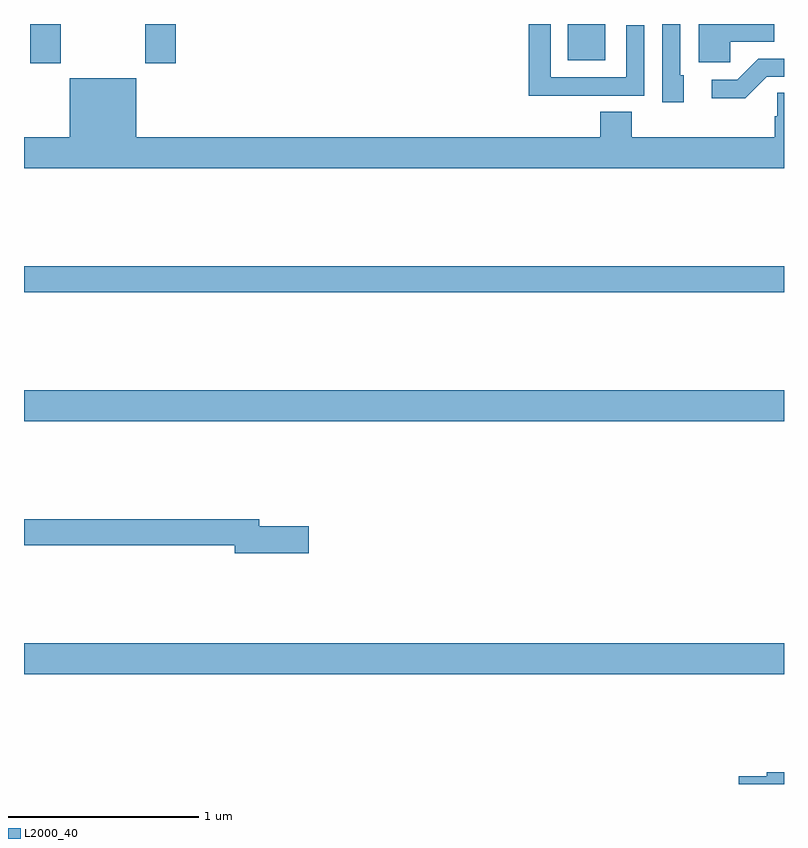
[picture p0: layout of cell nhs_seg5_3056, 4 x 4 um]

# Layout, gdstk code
import gdstk
lib = gdstk.Library(unit=1e-6, precision=1e-09)
def R(c, l, rs):  # rectangles x0, y0, x1, y1
    for r in rs: c.add(gdstk.rectangle(r[:2], r[2:], *l))
def P(c, l, *ps):  # polygons
    for p in ps: c.add(gdstk.Polygon(p, *l))
L2000_40 = (2000, 40)

nhs_seg5_3056 = lib.new_cell('nhs_seg5_3056')
R(nhs_seg5_3056, L2000_40, [(287,907.376,291,907.54), (287,908.708,291,908.872), (287,909.388,291,909.524), (287.033,910.593,287.193,910.799), (287.638,910.593,287.798,910.799), (289.862,910.607,290.059,910.799)])
P(nhs_seg5_3056, L2000_40, [(290.473,910.53),(290.454,910.53),(290.454,910.799),(290.358,910.799),(290.358,910.386),(290.473,910.386)],
  [(290.718,910.706),(290.948,910.706),(290.948,910.799),(290.552,910.799),(290.552,910.598),(290.718,910.598)],
  [(289.949,910.422),(290.265,910.422),(290.265,910.792),(290.169,910.792),(290.169,910.518),(289.773,910.518),(289.773,910.799),(289.657,910.799),(289.657,910.421),(289.949,910.421)],
  [(290.91,910.521),(291,910.521),(291,910.617),(290.864,910.617),(290.753,910.506),(290.619,910.506),(290.619,910.409),(290.797,910.409)],
  [(291,910.436),(290.964,910.436),(290.964,910.313),(290.951,910.313),(290.951,910.204),(290.198,910.204),(290.198,910.337),(290.033,910.337),(290.033,910.204),(287.59,910.204),(287.59,910.513),(287.24,910.513),(287.24,910.204),(287,910.204),(287,910.04),(291,910.04)],
  [(288.499,908.156),(288.238,908.156),(288.238,908.192),(287,908.192),(287,908.056),(288.11,908.056),(288.11,908.014),(288.499,908.014)],
  [(291,906.86),(290.908,906.86),(290.908,906.84),(290.762,906.84),(290.762,906.799),(291,906.799)])

lib.write_gds('nhs_seg5_3056.gds')
